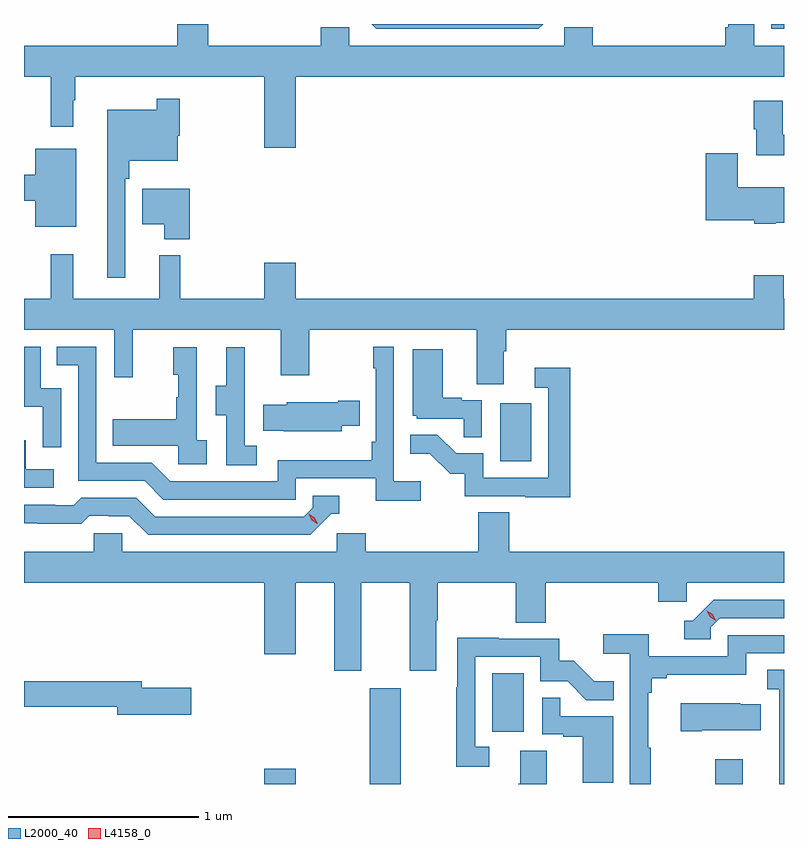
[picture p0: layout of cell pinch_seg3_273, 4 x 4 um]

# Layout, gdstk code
import gdstk
lib = gdstk.Library(unit=1e-6, precision=1e-09)
def R(c, l, rs):  # rectangles x0, y0, x1, y1
    for r in rs: c.add(gdstk.rectangle(r[:2], r[2:], *l))
def P(c, l, *ps):  # polygons
    for p in ps: c.add(gdstk.Polygon(p, *l))
L2000_40 = (2000, 40)
L4158_0 = (4158, 0)

pinch_seg3_273 = lib.new_cell('pinch_seg3_273')
R(pinch_seg3_273, L2000_40, [(896.276,707.85,896.44,707.929), (896.831,707.85,896.995,708.355), (898.648,707.85,898.795,707.98), (897.476,708.126,897.64,708.433), (897.518,709.548,897.682,709.855), (898.944,711.825,899.011,711.85)])
P(pinch_seg3_273, L2000_40, [(896.44,711.572),(899.011,711.572),(899.011,711.736),(898.854,711.736),(898.854,711.85),(898.717,711.85),(898.717,711.834),(898.703,711.834),(898.703,711.736),(898.005,711.736),(898.005,711.834),(897.855,711.834),(897.855,711.736),(896.724,711.736),(896.724,711.834),(896.573,711.834),(896.573,711.736),(895.982,711.736),(895.982,711.85),(895.817,711.85),(895.817,711.736),(895.011,711.736),(895.011,711.572),(895.153,711.572),(895.153,711.309),(895.27,711.309),(895.27,711.449),(895.282,711.449),(895.282,711.572),(896.276,711.572),(896.276,711.198),(896.44,711.198)],
  [(897.743,711.85),(896.84,711.85),(896.865,711.825),(897.718,711.825)],
  [(895.545,711.035),(895.565,711.035),(895.565,711.131),(895.819,711.131),(895.819,711.261),(895.831,711.261),(895.831,711.457),(895.71,711.457),(895.71,711.4),(895.448,711.4),(895.448,710.514),(895.545,710.514)],
  [(899.011,711.268),(899.005,711.268),(899.005,711.445),(898.853,711.445),(898.853,711.297),(898.865,711.297),(898.865,711.158),(899.011,711.158)],
  [(895.285,711.193),(895.07,711.193),(895.07,711.056),(895.011,711.056),(895.011,710.92),(895.07,710.92),(895.07,710.783),(895.285,710.783)],
  [(898.968,710.804),(899.011,710.804),(899.011,710.992),(898.768,710.992),(898.768,711.169),(898.598,711.169),(898.598,710.816),(898.854,710.816),(898.854,710.798),(898.968,710.798)],
  [(895.883,710.983),(895.634,710.983),(895.634,710.795),(895.748,710.795),(895.748,710.717),(895.883,710.717)],
  [(896.44,710.593),(896.276,710.593),(896.276,710.404),(895.834,710.404),(895.834,710.632),(895.724,710.632),(895.724,710.404),(895.271,710.404),(895.271,710.638),(895.153,710.638),(895.153,710.404),(895.011,710.404),(895.011,710.24),(895.485,710.24),(895.485,709.992),(895.583,709.992),(895.583,710.24),(896.363,710.24),(896.363,710.001),(896.511,710.001),(896.511,710.24),(897.395,710.24),(897.395,709.954),(897.535,709.954),(897.535,710.128),(897.548,710.128),(897.548,710.24),(899.011,710.24),(899.011,710.404),(899.009,710.404),(899.009,710.528),(898.853,710.528),(898.853,710.404),(896.44,710.404)],
  [(897.1,709.444),(896.958,709.444),(896.958,710.152),(896.85,710.152),(896.85,710.039),(896.862,710.039),(896.862,709.651),(896.842,709.651),(896.842,709.555),(896.346,709.555),(896.346,709.443),(895.782,709.443),(895.683,709.542),(895.392,709.542),(895.392,710.151),(895.183,710.151),(895.183,710.055),(895.296,710.055),(895.296,709.446),(895.646,709.446),(895.745,709.347),(896.442,709.347),(896.442,709.458),(896.861,709.458),(896.861,709.342),(897.1,709.342)],
  [(895.206,709.932),(895.098,709.932),(895.098,710.151),(895.011,710.151),(895.011,709.835),(895.11,709.835),(895.11,709.623),(895.206,709.623)],
  [(895.972,709.658),(895.92,709.658),(895.92,710.149),(895.796,710.149),(895.796,710.004),(895.822,710.004),(895.822,709.886),(895.812,709.886),(895.812,709.771),(895.477,709.771),(895.477,709.631),(895.824,709.631),(895.824,709.533),(895.972,709.533)],
  [(896.236,709.631),(896.172,709.631),(896.172,709.935),(896.174,709.935),(896.174,710.149),(896.075,710.149),(896.075,709.947),(896.021,709.947),(896.021,709.792),(896.076,709.792),(896.076,709.528),(896.236,709.528)],
  [(897.42,709.869),(897.314,709.869),(897.314,709.882),(897.214,709.882),(897.214,710.137),(897.056,710.137),(897.056,709.788),(897.078,709.788),(897.078,709.773),(897.325,709.773),(897.325,709.675),(897.42,709.675)],
  [(897.887,710.041),(897.699,710.041),(897.699,709.935),(897.771,709.935),(897.771,709.461),(897.429,709.461),(897.429,709.59),(897.285,709.59),(897.187,709.688),(897.043,709.688),(897.043,709.589),(897.147,709.589),(897.254,709.482),(897.331,709.482),(897.331,709.365),(897.649,709.365),(897.649,709.36),(897.887,709.36)],
  [(896.683,709.736),(896.777,709.736),(896.777,709.866),(896.666,709.866),(896.666,709.858),(896.394,709.858),(896.394,709.846),(896.269,709.846),(896.269,709.709),(896.377,709.709),(896.377,709.706),(896.683,709.706)],
  [(895.168,709.506),(895.02,709.506),(895.02,709.66),(895.011,709.66),(895.011,709.41),(895.168,709.41)],
  [(896.628,709.272),(896.671,709.272),(896.671,709.368),(896.532,709.368),(896.532,709.305),(896.484,709.257),(895.701,709.257),(895.602,709.356),(895.313,709.356),(895.274,709.317),(895.175,709.317),(895.175,709.32),(895.011,709.32),(895.011,709.223),(895.08,709.223),(895.08,709.221),(895.313,709.221),(895.355,709.263),(895.458,709.263),(895.458,709.26),(895.565,709.26),(895.664,709.161),(896.517,709.161)],
  [(896.81,709.17),(896.658,709.17),(896.658,709.072),(895.527,709.072),(895.527,709.17),(895.377,709.17),(895.377,709.072),(895.011,709.072),(895.011,708.908),(896.276,708.908),(896.276,708.534),(896.44,708.534),(896.44,708.908),(896.645,708.908),(896.645,708.447),(896.785,708.447),(896.785,708.908),(897.041,708.908),(897.041,708.447),(897.181,708.447),(897.181,708.712),(897.189,708.712),(897.189,708.908),(897.598,708.908),(897.598,708.7),(897.758,708.7),(897.758,708.908),(898.349,708.908),(898.349,708.81),(898.5,708.81),(898.5,708.908),(899.011,708.908),(899.011,709.072),(897.566,709.072),(897.566,709.28),(897.401,709.28),(897.401,709.072),(896.81,709.072)],
  [(898.626,708.675),(898.674,708.723),(899.011,708.723),(899.011,708.819),(898.641,708.819),(898.53,708.708),(898.487,708.708),(898.487,708.612),(898.626,708.612)],
  [(898.309,708.041),(898.297,708.041),(898.297,708.329),(898.316,708.329),(898.316,708.406),(898.393,708.406),(898.393,708.425),(898.812,708.425),(898.812,708.537),(899.011,708.537),(899.011,708.633),(898.716,708.633),(898.716,708.522),(898.298,708.522),(898.298,708.638),(898.059,708.638),(898.059,708.536),(898.2,708.536),(898.2,707.85),(898.309,707.85)],
  [(897.46,708.045),(897.387,708.045),(897.387,708.519),(897.729,708.519),(897.729,708.39),(897.873,708.39),(897.971,708.292),(898.115,708.292),(898.115,708.391),(898.011,708.391),(897.904,708.498),(897.828,708.498),(897.828,708.615),(897.509,708.615),(897.509,708.62),(897.291,708.62),(897.291,708.359),(897.286,708.359),(897.286,707.94),(897.46,707.94)],
  [(899.011,708.452),(898.923,708.452),(898.923,708.349),(898.986,708.349),(898.986,708.045),(898.985,708.045),(898.985,707.85),(899.011,707.85)],
  [(895.891,708.356),(895.63,708.356),(895.63,708.392),(895.011,708.392),(895.011,708.256),(895.502,708.256),(895.502,708.214),(895.891,708.214)],
  [(898.111,708.207),(897.833,708.207),(897.833,708.305),(897.738,708.305),(897.738,708.111),(897.849,708.111),(897.849,708.099),(897.953,708.099),(897.953,707.856),(898.111,707.856)],
  [(898.579,708.134),(898.889,708.134),(898.889,708.271),(898.781,708.271),(898.781,708.274),(898.467,708.274),(898.467,708.127),(898.579,708.127)],
  [(897.763,708.026),(897.623,708.026),(897.623,707.852),(897.611,707.852),(897.611,707.85),(897.763,707.85)])
P(pinch_seg3_273, L4158_0, [(896.555,709.22),(896.525,709.239),(896.509,709.271),(896.509,709.272),(896.509,709.272),(896.54,709.252),(896.556,709.22),(896.556,709.22)],
  [(898.651,708.71),(898.62,708.729),(898.604,708.762),(898.604,708.762),(898.604,708.762),(898.635,708.743),(898.652,708.71),(898.652,708.71)])

lib.write_gds('pinch_seg3_273.gds')
